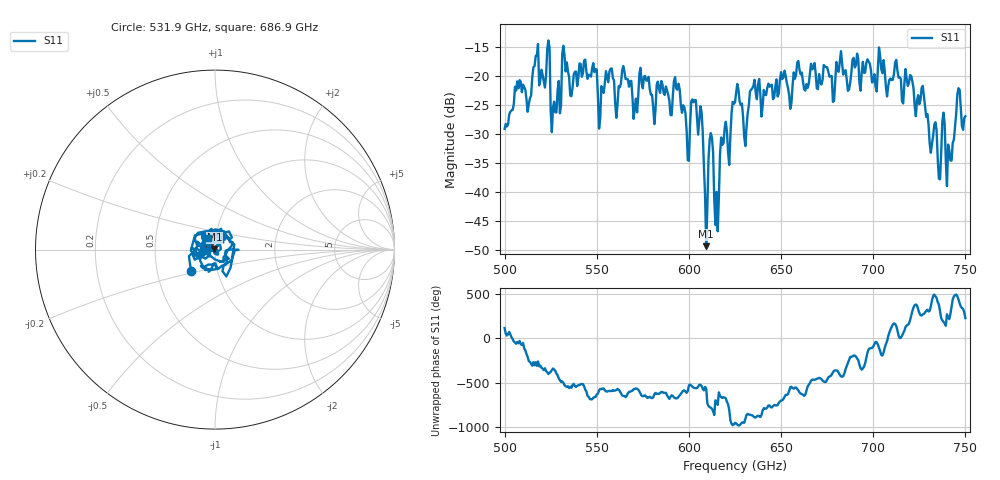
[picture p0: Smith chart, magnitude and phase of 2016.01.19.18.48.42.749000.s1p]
!Created with skrf (http://scikit-rf.org).
# GHz S RI R 50.0
!freq ReS11 ImS11
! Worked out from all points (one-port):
!   401 points, 500 GHz to 750 GHz, reference 50 ohm
!   lowest |S11| = -49.3 dB at 609.4 GHz (marker M1), VSWR 1.01, Z = 49.7 + j0.13 ohm
!   |S11| at or under -10 dB: start of sweep to end of sweep
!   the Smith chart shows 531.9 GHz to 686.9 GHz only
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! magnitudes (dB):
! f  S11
! 500 GHz  -29.1
! 506.9 GHz  -21.0
! 513.1 GHz  -24.9
! 516.9 GHz  -16.6
! 523.1 GHz  -15.5
! 526.2 GHz  -25.4
! 531.2 GHz  -16.3
! 562.5 GHz  -22.0
! 593.8 GHz  -22.4
! 599.4 GHz  -34.5
! 602.5 GHz  -24.6
! 606.2 GHz  -25.3
! 609.4 GHz  -49.3
! 611.9 GHz  -29.9
! 615 GHz  -39.9
! 618.1 GHz  -31.9
! 621.9 GHz  -35.3
! 625 GHz  -24.6
! 630.6 GHz  -32.1
! 634.4 GHz  -22.2
! 656.2 GHz  -21.6
! 687.5 GHz  -21.2
! 718.8 GHz  -21.8
! 735.6 GHz  -37.7
! 738.1 GHz  -26.3
! 741.2 GHz  -32.8
! 746.2 GHz  -22.2
! 750 GHz  -27.0
